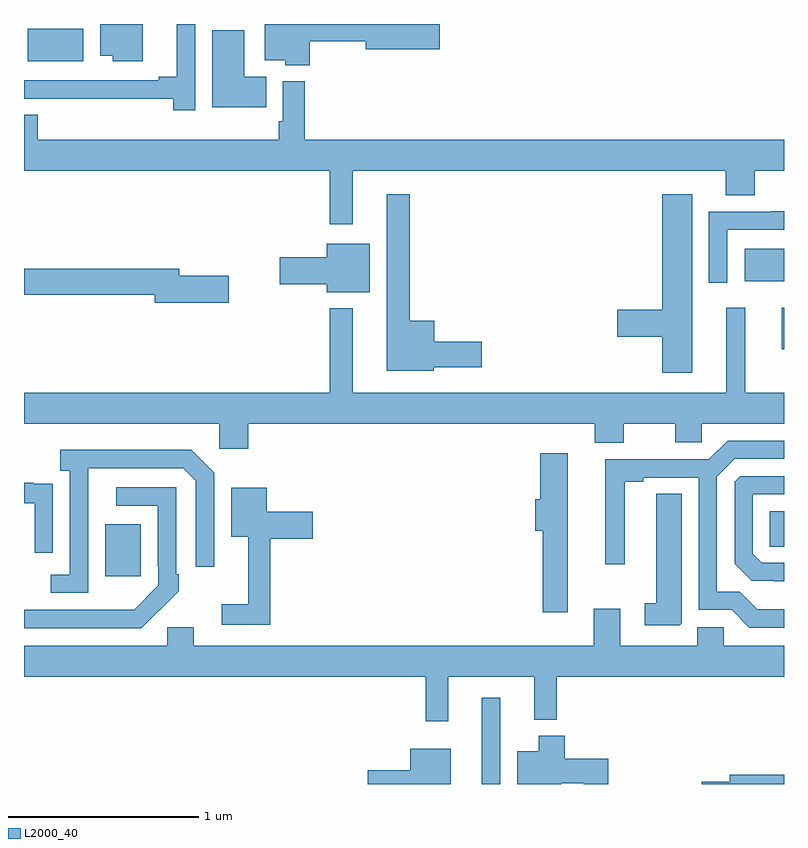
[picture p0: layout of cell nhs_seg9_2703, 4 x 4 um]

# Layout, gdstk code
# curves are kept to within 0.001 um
import gdstk
lib = gdstk.Library(unit=1e-6, precision=1e-09)
def R(c, l, rs):  # rectangles x0, y0, x1, y1
    for r in rs: c.add(gdstk.rectangle(r[:2], r[2:], *l))
def P(c, l, *ps):  # polygons
    for p in ps: c.add(gdstk.Polygon(p, *l))
L2000_40 = (2000, 40)

nhs_seg9_2703 = lib.new_cell('nhs_seg9_2703')
R(nhs_seg9_2703, L2000_40, [(267.41,1218.5,267.507,1218.955), (265.427,1219.593,265.615,1219.867), (268.926,1219.75,269,1219.935), (268.988,1220.787,269,1221.007), (268.793,1221.146,269,1221.316), (265.019,1222.304,265.312,1222.474)])
P(nhs_seg9_2703, L2000_40, [(266.505,1222.408),(266.798,1222.408),(266.798,1222.366),(267.187,1222.366),(267.187,1222.5),(266.267,1222.5),(266.267,1222.31),(266.376,1222.31),(266.376,1222.283),(266.505,1222.283)],
  [(265.624,1222.5),(265.4,1222.5),(265.4,1222.334),(265.466,1222.334),(265.466,1222.304),(265.624,1222.304)],
  [(265.902,1222.5),(265.805,1222.5),(265.805,1222.223),(265.709,1222.223),(265.709,1222.203),(265,1222.203),(265,1222.107),(265.156,1222.107),(265.156,1222.106),(265.786,1222.106),(265.786,1222.047),(265.902,1222.047)],
  [(266.276,1222.222),(266.158,1222.222),(266.158,1222.466),(265.991,1222.466),(265.991,1222.061),(266.276,1222.061)],
  [(266.731,1221.728),(268.694,1221.728),(268.694,1221.598),(268.847,1221.598),(268.847,1221.728),(269,1221.728),(269,1221.892),(266.477,1221.892),(266.477,1222.198),(266.361,1222.198),(266.361,1221.988),(266.341,1221.988),(266.341,1221.892),(265.073,1221.892),(265.073,1222.022),(265,1222.022),(265,1221.728),(266.61,1221.728),(266.61,1221.447),(266.731,1221.447)],
  [(268.516,1221.604),(268.358,1221.604),(268.358,1220.996),(268.122,1220.996),(268.122,1220.854),(268.358,1220.854),(268.358,1220.664),(268.516,1220.664)],
  [(267.156,1220.693),(267.409,1220.693),(267.409,1220.828),(267.16,1220.828),(267.16,1220.938),(267.031,1220.938),(267.031,1221.604),(266.909,1221.604),(266.909,1220.675),(267.156,1220.675)],
  [(268.701,1221.417),(269,1221.417),(269,1221.515),(268.93,1221.515),(268.93,1221.513),(268.605,1221.513),(268.605,1221.138),(268.701,1221.138)],
  [(266.821,1221.343),(266.594,1221.343),(266.594,1221.273),(266.346,1221.273),(266.346,1221.131),(266.594,1221.131),(266.594,1221.089),(266.821,1221.089)],
  [(266.077,1221.176),(265.816,1221.176),(265.816,1221.212),(265,1221.212),(265,1221.076),(265.688,1221.076),(265.688,1221.034),(266.077,1221.034)],
  [(266.18,1220.396),(268.004,1220.396),(268.004,1220.297),(268.156,1220.297),(268.156,1220.396),(268.427,1220.396),(268.427,1220.298),(268.566,1220.298),(268.566,1220.396),(269,1220.396),(269,1220.56),(268.796,1220.56),(268.796,1221.007),(268.697,1221.007),(268.697,1220.56),(266.731,1220.56),(266.731,1221.004),(266.61,1221.004),(266.61,1220.56),(265,1220.56),(265,1220.396),(266.028,1220.396),(266.028,1220.265),(266.18,1220.265)],
  [(269,1219.42),(268.859,1219.42),(268.768,1219.511),(268.647,1219.511),(268.647,1220.118),(268.74,1220.211),(269,1220.211),(269,1220.307),(268.703,1220.307),(268.604,1220.208),(268.058,1220.208),(268.058,1219.656),(268.162,1219.656),(268.162,1220.092),(268.258,1220.092),(268.258,1220.112),(268.551,1220.112),(268.551,1219.416),(268.725,1219.416),(268.818,1219.323),(269,1219.323)],
  [(265.338,1219.963),(265.339,1220.163),(265.839,1220.163),(265.905,1220.097),(265.905,1219.644),(266.001,1219.644),(266.001,1220.139),(265.88,1220.26),(265.191,1220.26),(265.191,1220.15),(265.242,1220.15),(265.242,1219.602),(265.14,1219.602),(265.14,1219.506),(265.338,1219.506)],
  [(267.862,1220.242),(267.716,1220.242),(267.716,1219.998),(267.692,1219.998),(267.692,1219.832),(267.731,1219.832),(267.731,1219.404),(267.862,1219.404)],
  [(269,1219.665),(268.884,1219.665),(268.836,1219.713),(268.836,1220.025),(269,1220.025),(269,1220.121),(268.77,1220.121),(268.74,1220.091),(268.74,1219.659),(268.829,1219.57),(268.945,1219.57),(268.945,1219.568),(269,1219.568)],
  [(265.152,1219.97),(265.151,1219.97),(265.151,1220.079),(265.049,1220.079),(265.049,1220.086),(265,1220.086),(265,1219.977),(265.056,1219.977),(265.056,1219.716),(265.152,1219.716)],
  [(265.709,1219.411),(265.71,1219.41),(265.815,1219.515),(265.815,1219.603),(265.8,1219.603),(265.8,1220.061),(265.485,1220.061),(265.485,1219.965),(265.704,1219.965),(265.704,1219.645),(265.707,1219.645),(265.707,1219.545),(265.579,1219.417),(265,1219.416),(265,1219.32),(265.618,1219.32)],
  [(266.297,1219.79),(266.521,1219.79),(266.521,1219.932),(266.278,1219.932),(266.278,1220.059),(266.09,1220.059),(266.09,1219.802),(266.18,1219.802),(266.18,1219.447),(266.04,1219.447),(266.04,1219.338),(266.297,1219.338)],
  [(268.462,1219.345),(268.462,1220.027),(268.328,1220.027),(268.328,1219.451),(268.266,1219.451),(268.266,1219.335),(268.452,1219.335)],
  [(267.233,1219.064),(267.686,1219.064),(267.686,1218.839),(267.803,1218.839),(267.803,1219.064),(269,1219.064),(269,1219.228),(268.683,1219.228),(268.683,1219.326),(268.544,1219.326),(268.544,1219.228),(268.138,1219.228),(268.138,1219.423),(267.998,1219.423),(267.998,1219.228),(265.894,1219.228),(265.894,1219.326),(265.755,1219.326),(265.755,1219.228),(265,1219.228),(265,1219.064),(267.115,1219.064),(267.115,1218.831),(267.233,1218.831)],
  [(267.828,1218.503),(267.945,1218.503),(267.945,1218.5),(268.075,1218.5),(268.075,1218.633),(267.845,1218.633),(267.845,1218.754),(267.71,1218.754),(267.71,1218.673),(267.596,1218.673),(267.596,1218.5),(267.828,1218.5)],
  [(267.247,1218.685),(267.032,1218.685),(267.032,1218.572),(266.808,1218.572),(266.808,1218.5),(267.247,1218.5)],
  [(269,1218.548),(268.715,1218.548),(268.715,1218.512),(268.566,1218.512),(268.566,1218.5),(269,1218.5)])

lib.write_gds('nhs_seg9_2703.gds')
